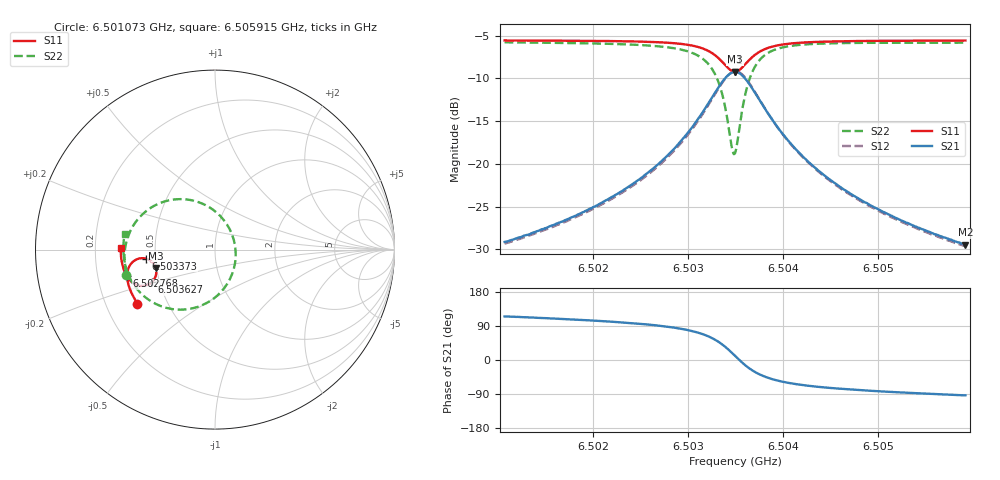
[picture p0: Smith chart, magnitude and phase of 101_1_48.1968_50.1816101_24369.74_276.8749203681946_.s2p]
#  HZ  S  RI  R  50.00
! Rohde & Schwarz Vector Network Analyzer
! Rohde-Schwarz,ZNB20-2Port,1311601062101988,3.16
! Created: UTC 3/20/2024, 11:40:35 AM
! freq[Hz]  re:S11  im:S11  re:S21  im:S21  re:S12  im:S12  re:S22  im:S22
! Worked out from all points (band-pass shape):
!   401 points, 6.501073 GHz to 6.505915 GHz, reference 50 ohm
!   highest |S21| = -9.25 dB at 6.503494 GHz (marker M1); lowest = -29.4 dB at 6.505915 GHz (marker M2)
!   |S21| within 3 dB of the highest: 6.503252 GHz to 6.503736 GHz (484.4 kHz wide, 0.00745 % of centre)
!   lowest |S11| = -9.2 dB at 6.503494 GHz (marker M3), VSWR 2.06, Z = 24.7 - j5.76 ohm
!   |S11| at or under -10 dB: nowhere
!   |S22| runs from -18.9 to -5.8 dB; largest |S21 - S12| = 0.012
!   S11 on the Smith chart (normalised r, x): 6.501073 GHz: 0.34, -0.28; 6.502768 GHz: 0.33, -0.13; 6.503373 GHz: 0.44, -0.05; 6.503627 GHz: 0.45, -0.19; 6.505915 GHz: 0.31, +0.01
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6.501073e9  -0.432 -0.3012  -0.0147 0.0317  -0.0131 0.0316  -0.4935 -0.1418
6.5018841e9  -0.4658 -0.2401  -0.0139 0.05  -0.0115 0.0494  -0.5045 -0.0533
6.5023441e9  -0.4815 -0.1983  -0.0105 0.0708  -0.00755 0.0696  -0.4994 0.0148
6.5026951e9  -0.4892 -0.1581  -0.00109 0.1006  0.00265 0.098  -0.4783 0.0888
6.5027678e9  -0.4896 -0.148  0.00294 0.1095  0.00682 0.1067  -0.4695 0.1083
6.5029736e9  -0.4857 -0.1146  0.0247 0.1439  0.0285 0.1395  -0.4239 0.1764
6.5031309e9  -0.4706 -0.0823  0.0651 0.1804  0.0677 0.1744  -0.3454 0.2404
6.5032762e9  -0.432 -0.0526  0.1483 0.2095  0.149 0.203  -0.1934 0.2811
6.5033246e9  -0.4105 -0.0478  0.1916 0.2079  0.1916 0.2019  -0.1174 0.272
6.5033731e9  -0.3847 -0.0501  0.2413 0.1922  0.2415 0.1873  -0.0322 0.2363
6.5034578e9  -0.3413 -0.08  0.3206 0.1157  0.3231 0.1114  0.0943 0.0856
6.5034941e9  -0.3303 -0.1025  0.3382 0.066  0.3419 0.0605  0.1149 -0.00799
6.5035183e9  -0.3273 -0.119  0.3415 0.0306  0.3456 0.0237  0.1119 -0.0726
6.5035547e9  -0.3295 -0.1435  0.3337 -0.0201  0.3373 -0.0294  0.0834 -0.1632
6.5036273e9  -0.3523 -0.1813  0.286 -0.0975  0.2858 -0.1093  -0.0295 -0.2879
6.5037362e9  -0.3986 -0.2017  0.1974 -0.1432  0.1918 -0.1532  -0.2092 -0.3341
6.5038815e9  -0.4436 -0.1935  0.1169 -0.1402  0.1096 -0.1459  -0.3545 -0.2891
6.504051e9  -0.473 -0.1724  0.0684 -0.1191  0.0618 -0.1214  -0.4332 -0.2209
6.5043052e9  -0.4957 -0.141  0.035 -0.0919  0.0299 -0.0924  -0.4814 -0.142
6.5046442e9  -0.5105 -0.1047  0.0163 -0.0685  0.0127 -0.0682  -0.5036 -0.0701
6.5051163e9  -0.5207 -0.0602  0.00537 -0.0502  0.00289 -0.0493  -0.5107 -0.000139
6.5059153e9  -0.526 0.00805  -0.00187 -0.0337  -0.00337 -0.0329  -0.5035 0.087
